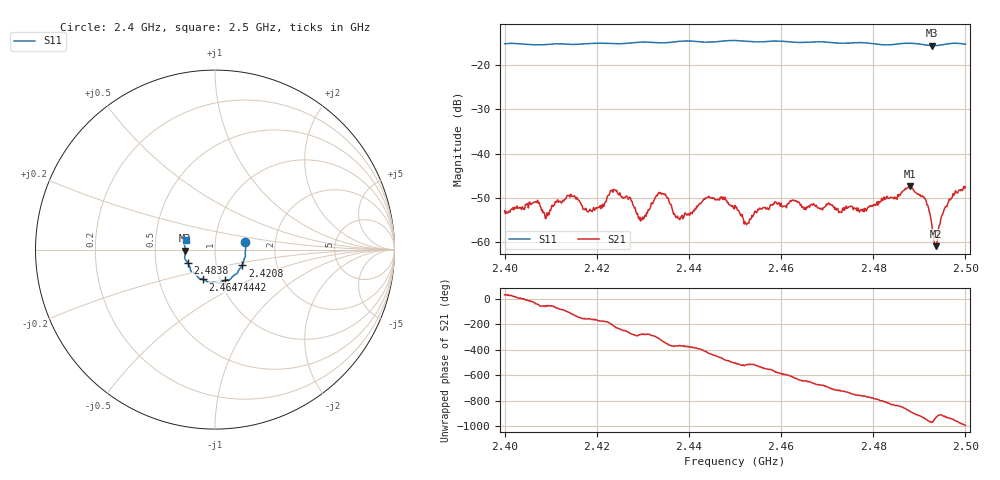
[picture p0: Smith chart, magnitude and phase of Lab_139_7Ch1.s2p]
# Hz S RI R 50
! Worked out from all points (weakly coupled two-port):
!   601 points, 2.4 GHz to 2.5 GHz, reference 50 ohm
!   highest |S21| = -47.34 dB at 2.488 GHz (marker M1); lowest = -60.8 dB at 2.4937 GHz (marker M2)
!   lowest |S11| = -15.6 dB at 2.4928 GHz (marker M3), VSWR 1.40, Z = 35.8 - j0.422 ohm
!   |S11| at or under -10 dB: start of sweep to end of sweep
!   S12 and S22 are empty: the file has one direction only
!   S11 on the Smith chart (normalised r, x): 2.4 GHz: 1.40, +0.12; 2.4208 GHz: 1.33, -0.24; 2.4442 GHz: 1.05, -0.37; 2.4647 GHz: 0.83, -0.29; 2.4838 GHz: 0.73, -0.11; 2.5 GHz: 0.71, +0.08
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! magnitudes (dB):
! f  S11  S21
! 2.4 GHz  -15.2  -52.8
! 2.414 GHz  -15.3  -49.4
! 2.4167 GHz  -15.3  -51.6
! 2.4208 GHz  -15.1  -52.4
! 2.4238 GHz  -15.2  -48.1
! 2.4297 GHz  -14.8  -54.5
! 2.4333 GHz  -15.0  -48.9
! 2.4382 GHz  -14.6  -54.3
! 2.4442 GHz  -14.9  -49.7
! 2.45 GHz  -14.5  -51.6
! 2.4525 GHz  -14.7  -56.0
! 2.4585 GHz  -14.6  -51.3
! 2.4647 GHz  -14.9  -51.9
! 2.4667 GHz  -14.8  -51.4
! 2.4833 GHz  -15.5  -50.1
! 2.4838 GHz  -15.4  -49.8
! 2.488 GHz  -15.1  -47.3
! 2.4913 GHz  -15.5  -50.3
! 2.4928 GHz  -15.6  -57.1
! 2.4937 GHz  -15.6  -60.8
! 2.496 GHz  -15.3  -51.9
! 2.5 GHz  -15.3  -47.5
